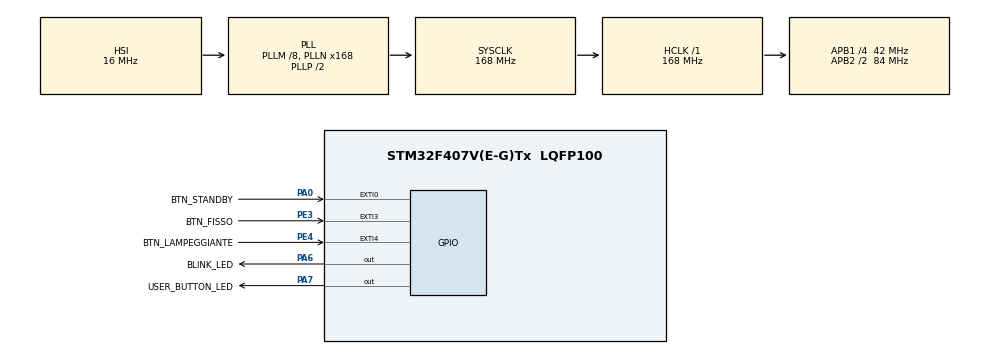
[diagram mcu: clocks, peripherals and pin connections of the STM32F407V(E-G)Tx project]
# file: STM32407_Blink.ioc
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Mcu.Family=STM32F4
Mcu.Name=STM32F407V(E-G)Tx
Mcu.Package=LQFP100
NVIC.EXTI0_IRQn=true\:0\:0\:false\:false\:true\:true\:true\:true
NVIC.EXTI3_IRQn=true\:0\:0\:false\:false\:true\:true\:true\:true
NVIC.EXTI4_IRQn=true\:0\:0\:false\:false\:true\:true\:true\:true
NVIC.PriorityGroup=NVIC_PRIORITYGROUP_4
PA0-WKUP.GPIO_Label=BTN_STANDBY
PA0-WKUP.GPIO_ModeDefaultEXTI=GPIO_MODE_IT_FALLING
PA0-WKUP.GPIO_PuPd=GPIO_PULLUP
PA0-WKUP.Signal=GPXTI0
PA13.Mode=Serial_Wire
PA13.Signal=SYS_JTMS-SWDIO
PA14.Mode=Serial_Wire
PA14.Signal=SYS_JTCK-SWCLK
PA6.GPIO_Label=BLINK_LED
PA6.GPIO_Speed=GPIO_SPEED_FREQ_MEDIUM
PA6.PinState=GPIO_PIN_RESET
PA6.Signal=GPIO_Output
PA7.GPIO_Label=USER_BUTTON_LED
PA7.GPIO_PuPd=GPIO_NOPULL
PA7.GPIO_Speed=GPIO_SPEED_FREQ_MEDIUM
PA7.PinState=GPIO_PIN_RESET
PA7.Signal=GPIO_Output
PE3.GPIO_Label=BTN_FISSO
PE3.GPIO_ModeDefaultEXTI=GPIO_MODE_IT_FALLING
PE3.GPIO_PuPd=GPIO_PULLUP
PE3.Signal=GPXTI3
PE4.GPIO_Label=BTN_LAMPEGGIANTE
PE4.GPIO_ModeDefaultEXTI=GPIO_MODE_IT_FALLING
PE4.GPIO_PuPd=GPIO_PULLUP
PE4.Signal=GPXTI4
PH0-OSC_IN.Mode=HSE-External-Oscillator
PH0-OSC_IN.Signal=RCC_OSC_IN
PH1-OSC_OUT.Mode=HSE-External-Oscillator
PH1-OSC_OUT.Signal=RCC_OSC_OUT
ProjectManager.HeapSize=0x200
ProjectManager.StackSize=0x400
ProjectManager.TargetToolchain=CMake
RCC.48MHZClocksFreq_Value=84000000
RCC.AHBFreq_Value=168000000
RCC.APB1CLKDivider=RCC_HCLK_DIV4
RCC.APB1Freq_Value=42000000
RCC.APB1TimFreq_Value=84000000
RCC.APB2CLKDivider=RCC_HCLK_DIV2
RCC.APB2Freq_Value=84000000
RCC.APB2TimFreq_Value=168000000
RCC.CortexFreq_Value=168000000
RCC.HCLKFreq_Value=168000000
RCC.HSE_VALUE=8000000
RCC.HSI_VALUE=16000000
RCC.LSE_VALUE=32768
RCC.PLLM=8
RCC.PLLN=168
RCC.SYSCLKFreq_VALUE=168000000
RCC.SYSCLKSource=RCC_SYSCLKSOURCE_PLLCLK
RCC.VCOOutputFreq_Value=336000000
board=custom

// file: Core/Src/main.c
/* USER CODE BEGIN Header */
/**
  ******************************************************************************
  * @file           : main.c
  * @brief          : Main program body
  ******************************************************************************
  * @attention
  *
  * Copyright (c) 2026 STMicroelectronics.
  * All rights reserved.
  *
  * This software is licensed under terms that can be found in the LICENSE file
  * in the root directory of this software component.
  * If no LICENSE file comes with this software, it is provided AS-IS.
  *
  ******************************************************************************
  */
/* USER CODE END Header */
#include "main.h"
#include "gpio.h"

/* USER CODE BEGIN PTD */
typedef enum {
  MODE_OFF = 0,
  MODE_STEADY,
  MODE_BLINK_2S
} LED_Mode_t;

/* USER CODE END PTD */

/* USER CODE BEGIN PV */
volatile LED_Mode_t user_led_mode = MODE_OFF;
volatile uint8_t enter_stop_requested = 0;
/* USER CODE END PV */

void SystemClock_Config(void);
/* USER CODE BEGIN PFP */
void Enter_StopMode_Process(void);
/* USER CODE END PFP */

int main(void)
{

  /* MCU Configuration--------------------------------------------------------*/

  /* Reset of all peripherals, Initializes the Flash interface and the Systick. */
  HAL_Init();

  /* Configure the system clock */
  SystemClock_Config();

  /* Initialize all configured peripherals */
  MX_GPIO_Init();

  /* Infinite loop */
  while (1)
  {
    /* USER CODE BEGIN WHILE */
    if (enter_stop_requested)
    {
      enter_stop_requested = 0; // Resetta il flag
      __HAL_GPIO_EXTI_CLEAR_IT(BTN_STANDBY_Pin);
      __HAL_GPIO_EXTI_CLEAR_IT(BTN_FISSO_Pin);
      __HAL_GPIO_EXTI_CLEAR_IT(BTN_LAMPEGGIANTE_Pin);

      Enter_StopMode_Process(); // stop mode
    }else{
      // 1. BLINK per il LED su PA6
      LED_Blink_Toggle(1000);

      // 2. La macchina a stati gestisce il LED su PA7 (OFF, STEADY o BLINK)
      USER_LED_Update_State();

      // 3. Delay di cortesia: alleggerisce la CPU al 100% e stabilizza il Debugger
      HAL_Delay(10);

    }

    /* USER CODE END WHILE */

  }

}

void SystemClock_Config(void)
{
  RCC_OscInitTypeDef RCC_OscInitStruct = {0};
  RCC_ClkInitTypeDef RCC_ClkInitStruct = {0};

  /** Configure the main internal regulator output voltage
  */
  __HAL_RCC_PWR_CLK_ENABLE();
  __HAL_PWR_VOLTAGESCALING_CONFIG(PWR_REGULATOR_VOLTAGE_SCALE1);

  /** Initializes the RCC Oscillators according to the specified parameters
  * in the RCC_OscInitTypeDef structure.
  */
  RCC_OscInitStruct.OscillatorType = RCC_OSCILLATORTYPE_HSI;
  RCC_OscInitStruct.HSIState = RCC_HSI_ON;
  RCC_OscInitStruct.HSICalibrationValue = RCC_HSICALIBRATION_DEFAULT;
  RCC_OscInitStruct.PLL.PLLState = RCC_PLL_ON;
  RCC_OscInitStruct.PLL.PLLSource = RCC_PLLSOURCE_HSI;
  RCC_OscInitStruct.PLL.PLLM = 8;
  RCC_OscInitStruct.PLL.PLLN = 168;
  RCC_OscInitStruct.PLL.PLLP = RCC_PLLP_DIV2;
  RCC_OscInitStruct.PLL.PLLQ = 4;
  if (HAL_RCC_OscConfig(&RCC_OscInitStruct) != HAL_OK)
  {
    Error_Handler();
  }

  /** Initializes the CPU, AHB and APB buses clocks
  */
  RCC_ClkInitStruct.ClockType = RCC_CLOCKTYPE_HCLK|RCC_CLOCKTYPE_SYSCLK
                              |RCC_CLOCKTYPE_PCLK1|RCC_CLOCKTYPE_PCLK2;
  RCC_ClkInitStruct.SYSCLKSource = RCC_SYSCLKSOURCE_PLLCLK;
  RCC_ClkInitStruct.AHBCLKDivider = RCC_SYSCLK_DIV1;
  RCC_ClkInitStruct.APB1CLKDivider = RCC_HCLK_DIV4;
  RCC_ClkInitStruct.APB2CLKDivider = RCC_HCLK_DIV2;

  if (HAL_RCC_ClockConfig(&RCC_ClkInitStruct, FLASH_LATENCY_5) != HAL_OK)
  {
    Error_Handler();
  }
}

/* USER CODE BEGIN 4 */

/**
  * 1. BLINK  per il LED su PA6
  */

void LED_Blink_Toggle(uint32_t period_ms)
{
  static uint32_t last_tick_heartbeat = 0;
  static uint8_t first_run = 1; // Flag per la prima chiamata

  // Se è il primo avvio OPPURE è passato il tempo stabilito
  if (first_run || ((HAL_GetTick() - last_tick_heartbeat) >= period_ms))
  {
    first_run = 0;                     // Disattiva il flag dopo la prima volta
    last_tick_heartbeat = HAL_GetTick(); // Aggiorna il riferimento temporale
    HAL_GPIO_TogglePin(BLINK_LED_GPIO_Port, BLINK_LED_Pin);
  }
}

/**
  * 2. Macchina a stati per il LED su PA7
  */
void USER_LED_Update_State(void)
{

  static uint32_t last_tick_user_led = 0;

  switch (user_led_mode)
  {
    case MODE_STEADY:

      HAL_GPIO_WritePin(USER_BUTTON_LED_GPIO_Port, USER_BUTTON_LED_Pin, LED_ON );
      break;

    case MODE_BLINK_2S:
      // Lampeggio ogni 1000ms
      if ((HAL_GetTick() - last_tick_user_led) >= 1000)
      {
        last_tick_user_led = HAL_GetTick();
        HAL_GPIO_TogglePin(USER_BUTTON_LED_GPIO_Port, USER_BUTTON_LED_Pin);
      }
      break;

    case MODE_OFF:
      default:
        HAL_GPIO_WritePin(USER_BUTTON_LED_GPIO_Port, USER_BUTTON_LED_Pin, LED_OFF);
      break;
  }
}

/**
  * 3. Interrupt Handler EXTI per i 3 pulsanti
  */
void HAL_GPIO_EXTI_Callback(uint16_t GPIO_Pin)
{
  static uint32_t last_interrupt_time = 0;
  uint32_t current_time = HAL_GetTick();

  if ((current_time - last_interrupt_time) < 200) {
    return; // Scarta i rimbalzi troppo ravvicinati
  }
  last_interrupt_time = current_time;

  if (GPIO_Pin == BTN_STANDBY_Pin)
  {
   enter_stop_requested = 1; // Imposta il flag per entrare in Stop Mode
  }
  else if (GPIO_Pin == BTN_FISSO_Pin)
  {
    // Se siamo già in modalità FISSA, premendolo di nuovo spegniamo (MODE_OFF). Altrimenti attiviamo il fisso.
    if (user_led_mode == MODE_STEADY) {
      user_led_mode = MODE_OFF;
    } else {
      user_led_mode = MODE_STEADY;
    }
  }
  else if (GPIO_Pin == BTN_LAMPEGGIANTE_Pin)
  {
    // Se siamo già in modalità LAMPEGGIANTE, premendolo di nuovo spegniamo (MODE_OFF). Altrimenti attiviamo il lampeggiante.
    if (user_led_mode == MODE_BLINK_2S) {
      user_led_mode = MODE_OFF;
    } else {
      user_led_mode = MODE_BLINK_2S;
    }
  }
}

void Enter_StopMode_Process(void)
{
  // 1. Spegniamo i LED per risparmiare energia
  HAL_GPIO_WritePin(BLINK_LED_GPIO_Port, BLINK_LED_Pin, LED_OFF);
  if(user_led_mode != MODE_OFF){
    HAL_GPIO_WritePin(USER_BUTTON_LED_GPIO_Port, USER_BUTTON_LED_Pin, LED_OFF);
  }

  // 2. Entriamo in Stop Mode (regolatore in modalità Low Power, risveglio con qualsiasi interrupt)
  HAL_PWR_EnterSTOPMode(PWR_MAINREGULATOR_ON, PWR_STOPENTRY_WFI);

  //  ripristinare il System Clock
  SystemClock_Config();
}

/* USER CODE END 4 */

void Error_Handler(void)
{
  /* USER CODE BEGIN Error_Handler_Debug */
  while (1)
  {
    HAL_GPIO_TogglePin(BLINK_LED_GPIO_Port, BLINK_LED_Pin);
    HAL_GPIO_TogglePin(USER_BUTTON_LED_GPIO_Port, USER_BUTTON_LED_Pin);
    for (volatile uint32_t i = 0; i < 400000; i++) { }
  }
  /* USER CODE END Error_Handler_Debug */
}
